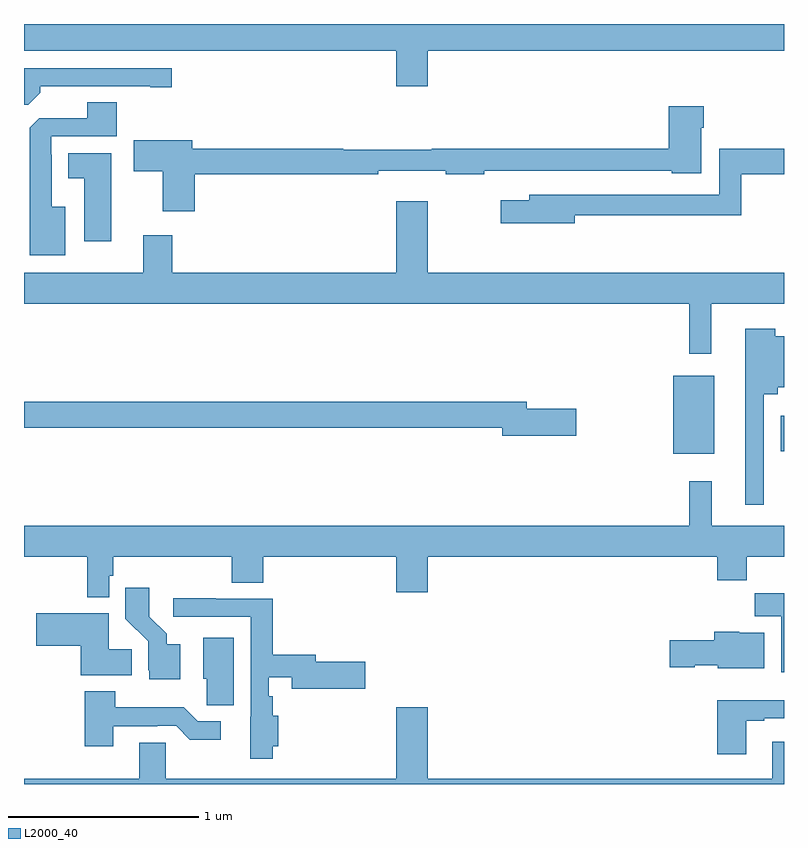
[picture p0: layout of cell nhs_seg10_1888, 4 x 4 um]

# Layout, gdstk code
import gdstk
lib = gdstk.Library(unit=1e-6, precision=1e-09)
def R(c, l, rs):  # rectangles x0, y0, x1, y1
    for r in rs: c.add(gdstk.rectangle(r[:2], r[2:], *l))
def P(c, l, *ps):  # polygons
    for p in ps: c.add(gdstk.Polygon(p, *l))
L2000_40 = (2000, 40)

nhs_seg10_1888 = lib.new_cell('nhs_seg10_1888')
R(nhs_seg10_1888, L2000_40, [(214.418,1254.239,214.633,1254.649), (214.982,1254.251,215,1254.439)])
P(nhs_seg10_1888, L2000_40, [(213.124,1256.36),(215,1256.36),(215,1256.5),(211,1256.5),(211,1256.36),(212.96,1256.36),(212.96,1256.172),(213.124,1256.172)],
  [(211.085,1256.138),(211.085,1256.172),(211.664,1256.172),(211.664,1256.167),(211.777,1256.167),(211.777,1256.268),(211,1256.268),(211,1256.076),(211.023,1256.076)],
  [(211.216,1255.537),(211.147,1255.537),(211.147,1255.811),(211.143,1255.811),(211.143,1255.908),(211.487,1255.908),(211.487,1256.087),(211.334,1256.087),(211.334,1256.004),(211.08,1256.004),(211.031,1255.955),(211.031,1255.283),(211.216,1255.283)],
  [(211.898,1255.708),(212.864,1255.708),(212.864,1255.727),(213.22,1255.727),(213.22,1255.708),(213.422,1255.708),(213.422,1255.728),(214.41,1255.728),(214.41,1255.715),(214.564,1255.715),(214.564,1255.955),(214.577,1255.955),(214.577,1256.068),(214.394,1256.068),(214.394,1255.844),(213.146,1255.844),(213.146,1255.837),(212.681,1255.837),(212.681,1255.844),(211.885,1255.844),(211.885,1255.888),(211.578,1255.888),(211.578,1255.726),(211.73,1255.726),(211.73,1255.515),(211.898,1255.515)],
  [(213.898,1255.494),(214.775,1255.494),(214.775,1255.708),(215,1255.708),(215,1255.844),(214.659,1255.844),(214.659,1255.602),(213.659,1255.602),(213.659,1255.573),(213.51,1255.573),(213.51,1255.451),(213.898,1255.451)],
  [(211.459,1255.819),(211.232,1255.819),(211.232,1255.688),(211.316,1255.688),(211.316,1255.356),(211.459,1255.356)],
  [(214.618,1255.028),(215,1255.028),(215,1255.192),(213.124,1255.192),(213.124,1255.567),(212.96,1255.567),(212.96,1255.192),(211.781,1255.192),(211.781,1255.387),(211.628,1255.387),(211.628,1255.192),(211,1255.192),(211,1255.028),(214.501,1255.028),(214.501,1254.765),(214.618,1254.765)],
  [(214.893,1254.551),(214.967,1254.551),(214.967,1254.587),(215,1254.587),(215,1254.856),(214.954,1254.856),(214.954,1254.895),(214.796,1254.895),(214.796,1253.97),(214.893,1253.97)],
  [(213.907,1254.476),(213.646,1254.476),(213.646,1254.512),(211,1254.512),(211,1254.376),(213.518,1254.376),(213.518,1254.334),(213.907,1254.334)],
  [(211.449,1253.595),(211.469,1253.595),(211.469,1253.696),(212.093,1253.696),(212.093,1253.56),(212.258,1253.56),(212.258,1253.696),(212.96,1253.696),(212.96,1253.508),(213.124,1253.508),(213.124,1253.696),(214.649,1253.696),(214.649,1253.572),(214.805,1253.572),(214.805,1253.696),(215,1253.696),(215,1253.86),(214.619,1253.86),(214.619,1254.094),(214.501,1254.094),(214.501,1253.86),(211,1253.86),(211,1253.696),(211.333,1253.696),(211.333,1253.483),(211.449,1253.483)],
  [(211.822,1253.236),(211.75,1253.236),(211.75,1253.291),(211.66,1253.381),(211.66,1253.533),(211.534,1253.533),(211.534,1253.37),(211.653,1253.251),(211.653,1253.1),(211.658,1253.1),(211.658,1253.051),(211.822,1253.051)],
  [(215,1253.503),(214.846,1253.503),(214.846,1253.384),(214.985,1253.384),(214.985,1253.088),(215,1253.088)],
  [(212.309,1252.7),(212.339,1252.7),(212.339,1252.858),(212.309,1252.858),(212.309,1252.961),(212.289,1252.961),(212.289,1253.063),(212.408,1253.063),(212.408,1253.002),(212.797,1253.002),(212.797,1253.144),(212.536,1253.144),(212.536,1253.18),(212.309,1253.18),(212.309,1253.475),(212.009,1253.475),(212.009,1253.478),(211.785,1253.478),(211.785,1253.379),(212.193,1253.379),(212.193,1252.854),(212.192,1252.854),(212.192,1252.632),(212.309,1252.632)],
  [(211.568,1253.21),(211.447,1253.21),(211.447,1253.398),(211.065,1253.398),(211.065,1253.228),(211.298,1253.228),(211.298,1253.072),(211.568,1253.072)],
  [(214.897,1253.296),(214.764,1253.296),(214.764,1253.302),(214.634,1253.302),(214.634,1253.256),(214.398,1253.256),(214.398,1253.114),(214.53,1253.114),(214.53,1253.126),(214.65,1253.126),(214.65,1253.108),(214.897,1253.108)],
  [(212.104,1253.269),(211.943,1253.269),(211.943,1253.055),(211.962,1253.055),(211.962,1252.915),(212.104,1252.915)],
  [(211.471,1252.803),(211.7,1252.803),(211.7,1252.806),(211.8,1252.806),(211.873,1252.733),(212.035,1252.733),(212.035,1252.83),(211.914,1252.83),(211.841,1252.903),(211.479,1252.903),(211.479,1252.987),(211.319,1252.987),(211.319,1252.698),(211.471,1252.698)],
  [(214.801,1252.833),(214.897,1252.833),(214.897,1252.845),(215,1252.845),(215,1252.942),(214.649,1252.942),(214.649,1252.656),(214.801,1252.656)],
  [(211,1252.5),(215,1252.5),(215,1252.723),(214.937,1252.723),(214.937,1252.528),(213.124,1252.528),(213.124,1252.903),(212.96,1252.903),(212.96,1252.528),(211.746,1252.528),(211.746,1252.718),(211.607,1252.718),(211.607,1252.528),(211,1252.528)])

lib.write_gds('nhs_seg10_1888.gds')
